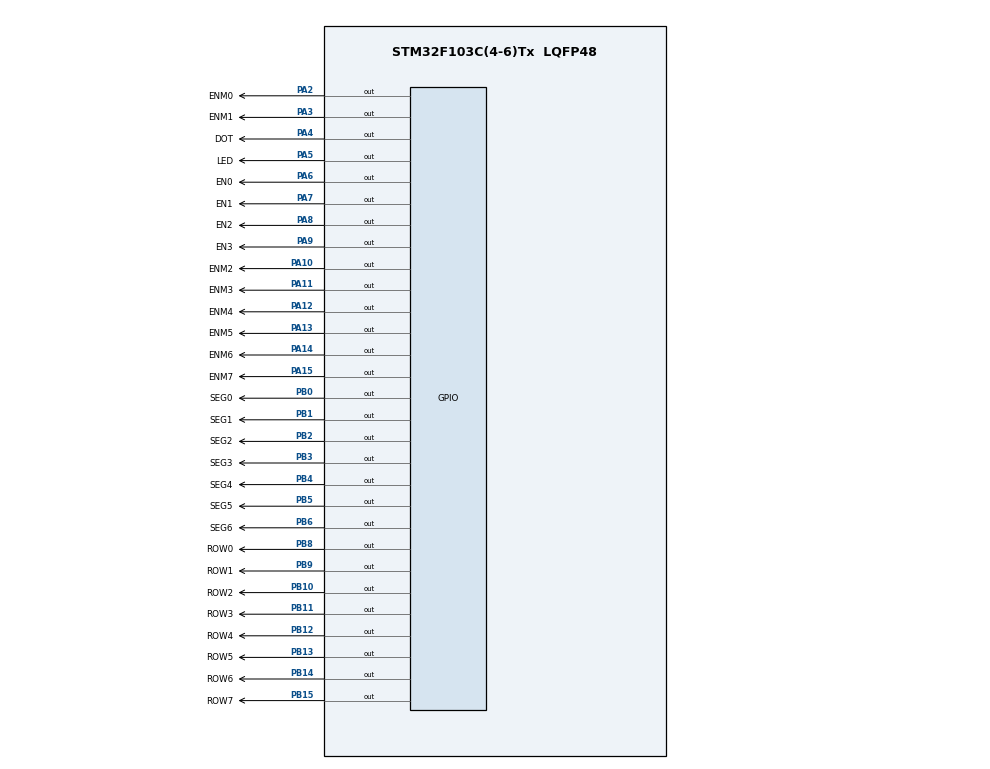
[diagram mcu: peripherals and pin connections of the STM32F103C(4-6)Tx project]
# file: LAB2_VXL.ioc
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Mcu.Family=STM32F1
Mcu.Name=STM32F103C(4-6)Tx
Mcu.Package=LQFP48
NVIC.PriorityGroup=NVIC_PRIORITYGROUP_4
NVIC.TIM2_IRQn=true\:0\:0\:false\:false\:true\:true\:true
PA10.GPIO_Label=ENM2
PA10.Signal=GPIO_Output
PA11.GPIO_Label=ENM3
PA11.Signal=GPIO_Output
PA12.GPIO_Label=ENM4
PA12.Signal=GPIO_Output
PA13.GPIO_Label=ENM5
PA13.Signal=GPIO_Output
PA14.GPIO_Label=ENM6
PA14.Signal=GPIO_Output
PA15.GPIO_Label=ENM7
PA15.Signal=GPIO_Output
PA2.GPIO_Label=ENM0
PA2.Signal=GPIO_Output
PA3.GPIO_Label=ENM1
PA3.Signal=GPIO_Output
PA4.GPIO_Label=DOT
PA4.Signal=GPIO_Output
PA5.GPIO_Label=LED
PA5.Signal=GPIO_Output
PA6.GPIO_Label=EN0
PA6.Signal=GPIO_Output
PA7.GPIO_Label=EN1
PA7.Signal=GPIO_Output
PA8.GPIO_Label=EN2
PA8.Signal=GPIO_Output
PA9.GPIO_Label=EN3
PA9.Signal=GPIO_Output
PB0.GPIO_Label=SEG0
PB0.Signal=GPIO_Output
PB1.GPIO_Label=SEG1
PB1.Signal=GPIO_Output
PB10.GPIO_Label=ROW2
PB10.Signal=GPIO_Output
PB11.GPIO_Label=ROW3
PB11.Signal=GPIO_Output
PB12.GPIO_Label=ROW4
PB12.Signal=GPIO_Output
PB13.GPIO_Label=ROW5
PB13.Signal=GPIO_Output
PB14.GPIO_Label=ROW6
PB14.Signal=GPIO_Output
PB15.GPIO_Label=ROW7
PB15.Signal=GPIO_Output
PB2.GPIO_Label=SEG2
PB2.Signal=GPIO_Output
PB3.GPIO_Label=SEG3
PB3.Signal=GPIO_Output
PB4.GPIO_Label=SEG4
PB4.Signal=GPIO_Output
PB5.GPIO_Label=SEG5
PB5.Signal=GPIO_Output
PB6.GPIO_Label=SEG6
PB6.Signal=GPIO_Output
PB8.GPIO_Label=ROW0
PB8.Signal=GPIO_Output
PB9.GPIO_Label=ROW1
PB9.Signal=GPIO_Output
ProjectManager.HeapSize=0x200
ProjectManager.StackSize=0x400
ProjectManager.TargetToolchain=STM32CubeIDE
RCC.APB1Freq_Value=8000000
RCC.APB2Freq_Value=8000000
TIM2.Period=9
TIM2.Prescaler=7999
VP_SYS_VS_ND.Mode=No_Debug
VP_TIM2_VS_ClockSourceINT.Mode=Internal
board=custom

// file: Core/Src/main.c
/* USER CODE BEGIN Header */
/**
  ******************************************************************************
  * @file           : main.c
  * @brief          : Main program body
  ******************************************************************************
  * @attention
  *
  * <h2><center>&copy; Copyright (c) 2023 STMicroelectronics.
  * All rights reserved.</center></h2>
  *
  * This software component is licensed by ST under BSD 3-Clause license,
  * the "License"; You may not use this file except in compliance with the
  * License. You may obtain a copy of the License at:
  *                        opensource.org/licenses/BSD-3-Clause
  *
  ******************************************************************************
  */
/* USER CODE END Header */
#include "main.h"

/* USER CODE BEGIN Includes */
#include "software_timer.h"
/* USER CODE END Includes */

/* USER CODE BEGIN PD */
#define A_GPIO_Port		SEG0_GPIO_Port
#define B_GPIO_Port		SEG0_GPIO_Port
#define C_GPIO_Port		SEG0_GPIO_Port
#define D_GPIO_Port		SEG0_GPIO_Port
#define E_GPIO_Port		SEG0_GPIO_Port
#define F_GPIO_Port		SEG0_GPIO_Port
#define G_GPIO_Port		SEG0_GPIO_Port
#define A_Pin			SEG0_Pin
#define B_Pin			SEG1_Pin
#define C_Pin			SEG2_Pin
#define D_Pin			SEG3_Pin
#define E_Pin			SEG4_Pin
#define F_Pin			SEG5_Pin
#define G_Pin			SEG6_Pin
/* USER CODE END PD */

TIM_HandleTypeDef htim2;

/* USER CODE BEGIN PV */
const int MAX_LED = 4;
int led_buffer[4] = {1,2,3,4};
int hour = 12;
int minute = 34;
int index_led = 0 ;
/* USER CODE END PV */

void SystemClock_Config(void);
static void MX_GPIO_Init(void);
static void MX_TIM2_Init(void);
/* USER CODE BEGIN PFP */
void update7SEG(int index);
void display7SEG(int num);
void update7SEG(int index);
void updateClockBuffer();
/* USER CODE END PFP */

int main(void)
{

  /* MCU Configuration--------------------------------------------------------*/

  /* Reset of all peripherals, Initializes the Flash interface and the Systick. */
  HAL_Init();

  /* Configure the system clock */
  SystemClock_Config();

  /* Initialize all configured peripherals */
  MX_GPIO_Init();
  MX_TIM2_Init();
  /* USER CODE BEGIN 2 */
  HAL_TIM_Base_Start_IT(&htim2);
  /* USER CODE END 2 */

  /* Infinite loop */
  /* USER CODE BEGIN WHILE */
  int second = 55;
  hour = 23;
  minute = 59;
  updateClockBuffer();
  setTimer1(50);
  int counter1Second = 2;
  while (1)
  {
		if (timer1_flag == 1){
			setTimer1(50);
			counter1Second--;
			if (counter1Second <= 0){
				counter1Second = 2;
				second++;
				if ( second >= 60){
				  second = 0;
				  minute ++;
				}
				if (minute >= 60){
				  minute = 0;
				  hour ++;
				}
				if ( hour >= 24){
				  hour = 0;
				}
				updateClockBuffer();
			}
			HAL_GPIO_TogglePin(DOT_GPIO_Port, DOT_Pin);
		}
    /* USER CODE END WHILE */

  }
}

void SystemClock_Config(void)
{
  RCC_OscInitTypeDef RCC_OscInitStruct = {0};
  RCC_ClkInitTypeDef RCC_ClkInitStruct = {0};

  /** Initializes the RCC Oscillators according to the specified parameters
  * in the RCC_OscInitTypeDef structure.
  */
  RCC_OscInitStruct.OscillatorType = RCC_OSCILLATORTYPE_HSI;
  RCC_OscInitStruct.HSIState = RCC_HSI_ON;
  RCC_OscInitStruct.HSICalibrationValue = RCC_HSICALIBRATION_DEFAULT;
  RCC_OscInitStruct.PLL.PLLState = RCC_PLL_NONE;
  if (HAL_RCC_OscConfig(&RCC_OscInitStruct) != HAL_OK)
  {
    Error_Handler();
  }
  /** Initializes the CPU, AHB and APB buses clocks
  */
  RCC_ClkInitStruct.ClockType = RCC_CLOCKTYPE_HCLK|RCC_CLOCKTYPE_SYSCLK
                              |RCC_CLOCKTYPE_PCLK1|RCC_CLOCKTYPE_PCLK2;
  RCC_ClkInitStruct.SYSCLKSource = RCC_SYSCLKSOURCE_HSI;
  RCC_ClkInitStruct.AHBCLKDivider = RCC_SYSCLK_DIV1;
  RCC_ClkInitStruct.APB1CLKDivider = RCC_HCLK_DIV1;
  RCC_ClkInitStruct.APB2CLKDivider = RCC_HCLK_DIV1;

  if (HAL_RCC_ClockConfig(&RCC_ClkInitStruct, FLASH_LATENCY_0) != HAL_OK)
  {
    Error_Handler();
  }
}

static void MX_TIM2_Init(void)
{

  TIM_ClockConfigTypeDef sClockSourceConfig = {0};
  TIM_MasterConfigTypeDef sMasterConfig = {0};

  htim2.Instance = TIM2;
  htim2.Init.Prescaler = 7999;
  htim2.Init.CounterMode = TIM_COUNTERMODE_UP;
  htim2.Init.Period = 9;
  htim2.Init.ClockDivision = TIM_CLOCKDIVISION_DIV1;
  htim2.Init.AutoReloadPreload = TIM_AUTORELOAD_PRELOAD_DISABLE;
  if (HAL_TIM_Base_Init(&htim2) != HAL_OK)
  {
    Error_Handler();
  }
  sClockSourceConfig.ClockSource = TIM_CLOCKSOURCE_INTERNAL;
  if (HAL_TIM_ConfigClockSource(&htim2, &sClockSourceConfig) != HAL_OK)
  {
    Error_Handler();
  }
  sMasterConfig.MasterOutputTrigger = TIM_TRGO_RESET;
  sMasterConfig.MasterSlaveMode = TIM_MASTERSLAVEMODE_DISABLE;
  if (HAL_TIMEx_MasterConfigSynchronization(&htim2, &sMasterConfig) != HAL_OK)
  {
    Error_Handler();
  }

}

static void MX_GPIO_Init(void)
{
  GPIO_InitTypeDef GPIO_InitStruct = {0};

  /* GPIO Ports Clock Enable */
  __HAL_RCC_GPIOA_CLK_ENABLE();
  __HAL_RCC_GPIOB_CLK_ENABLE();

  /*Configure GPIO pin Output Level */
  HAL_GPIO_WritePin(GPIOA, DOT_Pin|EN0_Pin|EN1_Pin|EN2_Pin
                          |EN3_Pin, GPIO_PIN_RESET);

  /*Configure GPIO pin Output Level */
  HAL_GPIO_WritePin(GPIOB, SEG0_Pin|SEG1_Pin|SEG2_Pin|SEG3_Pin
                          |SEG4_Pin|SEG5_Pin|SEG6_Pin, GPIO_PIN_RESET);

  /*Configure GPIO pins : DOT_Pin EN0_Pin EN1_Pin EN2_Pin
                           EN3_Pin */
  GPIO_InitStruct.Pin = DOT_Pin|EN0_Pin|EN1_Pin|EN2_Pin
                          |EN3_Pin;
  GPIO_InitStruct.Mode = GPIO_MODE_OUTPUT_PP;
  GPIO_InitStruct.Pull = GPIO_NOPULL;
  GPIO_InitStruct.Speed = GPIO_SPEED_FREQ_LOW;
  HAL_GPIO_Init(GPIOA, &GPIO_InitStruct);

  /*Configure GPIO pins : SEG0_Pin SEG1_Pin SEG2_Pin SEG3_Pin
                           SEG4_Pin SEG5_Pin SEG6_Pin */
  GPIO_InitStruct.Pin = SEG0_Pin|SEG1_Pin|SEG2_Pin|SEG3_Pin
                          |SEG4_Pin|SEG5_Pin|SEG6_Pin;
  GPIO_InitStruct.Mode = GPIO_MODE_OUTPUT_PP;
  GPIO_InitStruct.Pull = GPIO_NOPULL;
  GPIO_InitStruct.Speed = GPIO_SPEED_FREQ_LOW;
  HAL_GPIO_Init(GPIOB, &GPIO_InitStruct);

}

/* USER CODE BEGIN 4 */
int counter = 25;
void HAL_TIM_PeriodElapsedCallback(TIM_HandleTypeDef *htim){
	counter --;
	if(counter <= 0){
		counter = 25;
		if (index_led >3){
			index_led = 0;
		}
		update7SEG(index_led++);
	}
	timerRun();
}
void update7SEG(int index){
	switch (index){
	case 0:
		HAL_GPIO_WritePin(EN0_GPIO_Port, EN0_Pin, 0);
		HAL_GPIO_WritePin(EN1_GPIO_Port, EN1_Pin, 1);
		HAL_GPIO_WritePin(EN2_GPIO_Port, EN2_Pin, 1);
		HAL_GPIO_WritePin(EN3_GPIO_Port, EN3_Pin, 1);
		break;
	case 1:
		HAL_GPIO_WritePin(EN0_GPIO_Port, EN0_Pin, 1);
		HAL_GPIO_WritePin(EN1_GPIO_Port, EN1_Pin, 0);
		HAL_GPIO_WritePin(EN2_GPIO_Port, EN2_Pin, 1);
		HAL_GPIO_WritePin(EN3_GPIO_Port, EN3_Pin, 1);
		break;
	case 2:
		HAL_GPIO_WritePin(EN0_GPIO_Port, EN0_Pin, 1);
		HAL_GPIO_WritePin(EN1_GPIO_Port, EN1_Pin, 1);
		HAL_GPIO_WritePin(EN2_GPIO_Port, EN2_Pin, 0);
		HAL_GPIO_WritePin(EN3_GPIO_Port, EN3_Pin, 1);
		break;
	case 3:
		HAL_GPIO_WritePin(EN0_GPIO_Port, EN0_Pin, 1);
		HAL_GPIO_WritePin(EN1_GPIO_Port, EN1_Pin, 1);
		HAL_GPIO_WritePin(EN2_GPIO_Port, EN2_Pin, 1);
		HAL_GPIO_WritePin(EN3_GPIO_Port, EN3_Pin, 0);
		break;
	default:
		break;
	}
	display7SEG(led_buffer[index]);
}
void display7SEG(int num){
	switch (num){
	case 0:
		HAL_GPIO_WritePin(A_GPIO_Port, A_Pin, 0);
		HAL_GPIO_WritePin(B_GPIO_Port, B_Pin, 0);
		HAL_GPIO_WritePin(C_GPIO_Port, C_Pin, 0);
		HAL_GPIO_WritePin(D_GPIO_Port, D_Pin, 0);
		HAL_GPIO_WritePin(E_GPIO_Port, E_Pin, 0);
		HAL_GPIO_WritePin(F_GPIO_Port, F_Pin, 0);
		HAL_GPIO_WritePin(G_GPIO_Port, G_Pin, 1);
		break;
	case 1:
		HAL_GPIO_WritePin(A_GPIO_Port, A_Pin, 1);
		HAL_GPIO_WritePin(B_GPIO_Port, B_Pin, 0);
		HAL_GPIO_WritePin(C_GPIO_Port, C_Pin, 0);
		HAL_GPIO_WritePin(D_GPIO_Port, D_Pin, 1);
		HAL_GPIO_WritePin(E_GPIO_Port, E_Pin, 1);
		HAL_GPIO_WritePin(F_GPIO_Port, F_Pin, 1);
		HAL_GPIO_WritePin(G_GPIO_Port, G_Pin, 1);
		break;
	case 2:
		HAL_GPIO_WritePin(A_GPIO_Port, A_Pin, 0);
		HAL_GPIO_WritePin(B_GPIO_Port, B_Pin, 0);
		HAL_GPIO_WritePin(C_GPIO_Port, C_Pin, 1);
		HAL_GPIO_WritePin(D_GPIO_Port, D_Pin, 0);
		HAL_GPIO_WritePin(E_GPIO_Port, E_Pin, 0);
		HAL_GPIO_WritePin(F_GPIO_Port, F_Pin, 1);
		HAL_GPIO_WritePin(G_GPIO_Port, G_Pin, 0);
		break;
	case 3:
		HAL_GPIO_WritePin(A_GPIO_Port, A_Pin, 0);
		HAL_GPIO_WritePin(B_GPIO_Port, B_Pin, 0);
		HAL_GPIO_WritePin(C_GPIO_Port, C_Pin, 0);
		HAL_GPIO_WritePin(D_GPIO_Port, D_Pin, 0);
		HAL_GPIO_WritePin(E_GPIO_Port, E_Pin, 1);
		HAL_GPIO_WritePin(F_GPIO_Port, F_Pin, 1);
		HAL_GPIO_WritePin(G_GPIO_Port, G_Pin, 0);
		break;
	case 4:
		HAL_GPIO_WritePin(A_GPIO_Port, A_Pin, 1);
		HAL_GPIO_WritePin(B_GPIO_Port, B_Pin, 0);
		HAL_GPIO_WritePin(C_GPIO_Port, C_Pin, 0);
		HAL_GPIO_WritePin(D_GPIO_Port, D_Pin, 1);
		HAL_GPIO_WritePin(E_GPIO_Port, E_Pin, 1);
		HAL_GPIO_WritePin(F_GPIO_Port, F_Pin, 0);
		HAL_GPIO_WritePin(G_GPIO_Port, G_Pin, 0);
		break;
	case 5:
		HAL_GPIO_WritePin(A_GPIO_Port, A_Pin, 0);
		HAL_GPIO_WritePin(B_GPIO_Port, B_Pin, 1);
		HAL_GPIO_WritePin(C_GPIO_Port, C_Pin, 0);
		HAL_GPIO_WritePin(D_GPIO_Port, D_Pin, 0);
		HAL_GPIO_WritePin(E_GPIO_Port, E_Pin, 1);
		HAL_GPIO_WritePin(F_GPIO_Port, F_Pin, 0);
		HAL_GPIO_WritePin(G_GPIO_Port, G_Pin, 0);
		break;
	case 6:
		HAL_GPIO_WritePin(A_GPIO_Port, A_Pin, 0);
		HAL_GPIO_WritePin(B_GPIO_Port, B_Pin, 1);
		HAL_GPIO_WritePin(C_GPIO_Port, C_Pin, 0);
		HAL_GPIO_WritePin(D_GPIO_Port, D_Pin, 0);
		HAL_GPIO_WritePin(E_GPIO_Port, E_Pin, 0);
		HAL_GPIO_WritePin(F_GPIO_Port, F_Pin, 0);
		HAL_GPIO_WritePin(G_GPIO_Port, G_Pin, 0);
		break;
	case 7:
		HAL_GPIO_WritePin(A_GPIO_Port, A_Pin, 0);
		HAL_GPIO_WritePin(B_GPIO_Port, B_Pin, 0);
		HAL_GPIO_WritePin(C_GPIO_Port, C_Pin, 0);
		HAL_GPIO_WritePin(D_GPIO_Port, D_Pin, 1);
		HAL_GPIO_WritePin(E_GPIO_Port, E_Pin, 1);
		HAL_GPIO_WritePin(F_GPIO_Port, F_Pin, 1);
		HAL_GPIO_WritePin(G_GPIO_Port, G_Pin, 1);
		break;
	case 8:
		HAL_GPIO_WritePin(A_GPIO_Port, A_Pin, 0);
		HAL_GPIO_WritePin(B_GPIO_Port, B_Pin, 0);
		HAL_GPIO_WritePin(C_GPIO_Port, C_Pin, 0);
		HAL_GPIO_WritePin(D_GPIO_Port, D_Pin, 0);
		HAL_GPIO_WritePin(E_GPIO_Port, E_Pin, 0);
		HAL_GPIO_WritePin(F_GPIO_Port, F_Pin, 0);
		HAL_GPIO_WritePin(G_GPIO_Port, G_Pin, 0);
		break;
	case 9:
		HAL_GPIO_WritePin(A_GPIO_Port, A_Pin, 0);
		HAL_GPIO_WritePin(B_GPIO_Port, B_Pin, 0);
		HAL_GPIO_WritePin(C_GPIO_Port, C_Pin, 0);
		HAL_GPIO_WritePin(D_GPIO_Port, D_Pin, 0);
		HAL_GPIO_WritePin(E_GPIO_Port, E_Pin, 1);
		HAL_GPIO_WritePin(F_GPIO_Port, F_Pin, 0);
		HAL_GPIO_WritePin(G_GPIO_Port, G_Pin, 0);
		break;
	}
}
void updateClockBuffer(){
	int tmp = hour / 10;
	led_buffer[0] = tmp;
	tmp = hour % 10;
	led_buffer[1] = tmp;
	tmp = minute / 10;
	led_buffer[2] = tmp;
	tmp = minute % 10;
	led_buffer[3] = tmp;
}
/* USER CODE END 4 */

void Error_Handler(void)
{
  __disable_irq();
  while (1)
  {
  }
}

/************************ (C) COPYRIGHT STMicroelectronics *****END OF FILE****/
